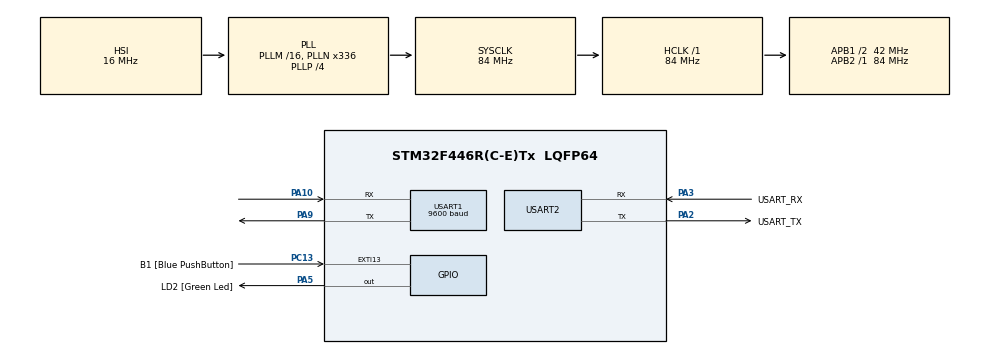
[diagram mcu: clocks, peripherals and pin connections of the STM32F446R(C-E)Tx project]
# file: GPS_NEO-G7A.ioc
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Dma.Request0=USART1_RX
Dma.USART1_RX.0.Direction=DMA_PERIPH_TO_MEMORY
Dma.USART1_RX.0.FIFOMode=DMA_FIFOMODE_DISABLE
Dma.USART1_RX.0.Instance=DMA2_Stream2
Dma.USART1_RX.0.MemDataAlignment=DMA_MDATAALIGN_BYTE
Dma.USART1_RX.0.MemInc=DMA_MINC_ENABLE
Dma.USART1_RX.0.Mode=DMA_NORMAL
Dma.USART1_RX.0.PeriphDataAlignment=DMA_PDATAALIGN_BYTE
Dma.USART1_RX.0.PeriphInc=DMA_PINC_DISABLE
Dma.USART1_RX.0.Priority=DMA_PRIORITY_LOW
Mcu.Family=STM32F4
Mcu.Name=STM32F446R(C-E)Tx
Mcu.Package=LQFP64
NVIC.DMA2_Stream2_IRQn=true\:0\:0\:false\:false\:true\:false\:true
NVIC.PriorityGroup=NVIC_PRIORITYGROUP_0
NVIC.USART1_IRQn=true\:0\:0\:false\:false\:true\:true\:true
NVIC.USART2_IRQn=true\:0\:0\:false\:false\:true\:true\:true
PA10.Mode=Asynchronous
PA10.Signal=USART1_RX
PA13.GPIO_Label=TMS
PA13.Mode=Serial_Wire
PA13.Signal=SYS_JTMS-SWDIO
PA14.GPIO_Label=TCK
PA14.Mode=Serial_Wire
PA14.Signal=SYS_JTCK-SWCLK
PA2.GPIO_Label=USART_TX
PA2.Mode=Asynchronous
PA2.Signal=USART2_TX
PA3.GPIO_Label=USART_RX
PA3.Mode=Asynchronous
PA3.Signal=USART2_RX
PA5.GPIO_Label=LD2 [Green Led]
PA5.Signal=GPIO_Output
PA9.Mode=Asynchronous
PA9.Signal=USART1_TX
PB3.GPIO_Label=SWO
PB3.Signal=SYS_JTDO-SWO
PC13.GPIO_Label=B1 [Blue PushButton]
PC13.GPIO_ModeDefaultEXTI=GPIO_MODE_IT_FALLING
PC13.Signal=GPXTI13
PC14-OSC32_IN.Mode=LSE-External-Oscillator
PC14-OSC32_IN.Signal=RCC_OSC32_IN
PC15-OSC32_OUT.Mode=LSE-External-Oscillator
PC15-OSC32_OUT.Signal=RCC_OSC32_OUT
PH0-OSC_IN.Mode=HSE-External-Oscillator
PH0-OSC_IN.Signal=RCC_OSC_IN
PH1-OSC_OUT.Mode=HSE-External-Oscillator
PH1-OSC_OUT.Signal=RCC_OSC_OUT
ProjectManager.HeapSize=0x200
ProjectManager.StackSize=0x400
ProjectManager.TargetToolchain=STM32CubeIDE
RCC.48MHZClocksFreq_Value=84000000
RCC.AHBFreq_Value=84000000
RCC.APB1CLKDivider=RCC_HCLK_DIV2
RCC.APB1Freq_Value=42000000
RCC.APB1TimFreq_Value=84000000
RCC.APB2Freq_Value=84000000
RCC.APB2TimFreq_Value=84000000
RCC.CortexFreq_Value=84000000
RCC.FLatency-AdvancedSettings=FLASH_LATENCY_2
RCC.HCLKFreq_Value=84000000
RCC.HSE_VALUE=8000000
RCC.HSI_VALUE=16000000
RCC.PLLN=336
RCC.PLLP=RCC_PLLP_DIV4
RCC.SYSCLKFreq_VALUE=84000000
RCC.SYSCLKSource=RCC_SYSCLKSOURCE_PLLCLK
RCC.USBFreq_Value=168000000
RCC.VCOOutputFreq_Value=336000000
USART1.BaudRate=9600
USART1.VirtualMode=VM_ASYNC
USART2.VirtualMode=VM_ASYNC
board=NUCLEO-F446RE

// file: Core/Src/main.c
/* USER CODE BEGIN Header */
/**
  ******************************************************************************
  * @file           : main.c
  * @brief          : Main program body
  ******************************************************************************
  * @attention
  *
  * <h2><center>&copy; Copyright (c) 2021 STMicroelectronics.
  * All rights reserved.</center></h2>
  *
  * This software component is licensed by ST under BSD 3-Clause license,
  * the "License"; You may not use this file except in compliance with the
  * License. You may obtain a copy of the License at:
  *                        opensource.org/licenses/BSD-3-Clause
  *
  ******************************************************************************
  */
/* USER CODE END Header */
#include "main.h"

/* USER CODE BEGIN Includes */

#include "string.h"
#include "stdlib.h"
#include "stdio.h"

/* USER CODE END Includes */

UART_HandleTypeDef huart1;
UART_HandleTypeDef huart2;
DMA_HandleTypeDef hdma_usart1_rx;

/* USER CODE BEGIN PV */
uint8_t flag = 0;
uint8_t buff[25];
char buffStr[255];
char nmeaSnt[80];
char *rawSum;
char smNmbr[3];

// The Equator has a latitude of 0°,
//the North Pole has a latitude of 90° North (written 90° N or +90°),
//and the South Pole has a latitude of 90° South (written 90° S or −90°)

char *latRaw;
char latDg[2];
char latMS[7];
char *hemNS;

// longitude in degrees (0° at the Prime Meridian to +180° eastward and −180° westward)
// that is why 3

char *lonRaw;
char lonDg[3];
char lonMS[7];
char *hemEW;

char *utcRaw; // raw UTC time from the NMEA sentence in the hhmmss format
char strUTC[8]; // UTC time in the readable hh:mm:ss format

char hH[2]; // hours
char mM[2]; // minutes
char sS[2]; // seconds

uint8_t cnt = 0;
/* USER CODE END PV */

void SystemClock_Config(void);
static void MX_GPIO_Init(void);
static void MX_USART2_UART_Init(void);
static void MX_DMA_Init(void);
static void MX_USART1_UART_Init(void);

/* USER CODE BEGIN 0 */

// this interrupts changes flag to 1 as soon as the uint8_t buff[300] is full

void HAL_UART_RxCpltCallback(UART_HandleTypeDef *huart)
{
	HAL_UART_Receive_IT(&huart1, buff, 255);
	flag = 1;
}

// function to calculate checksum of the NMEA sentence
// -4, but not -3 because the NMEA sentences are delimited with \r\n, and there also is the invisible \r in the end
int nmea0183_checksum(char *msg)
	{
	int checksum = 0;
	int j = 0;

	// the first $ sign and the last two bytes of original CRC + the * sign
	for (j = 1; j < strlen(msg) - 4; j++)
	{
		checksum = checksum ^ (unsigned) msg[j];
	}
	return checksum;
}

/* USER CODE END 0 */

int main(void)
{
  /* USER CODE BEGIN 1 */

	HAL_UART_Receive_IT(&huart1, buff, 255);

  /* USER CODE END 1 */

  /* MCU Configuration--------------------------------------------------------*/

  /* Reset of all peripherals, Initializes the Flash interface and the Systick. */
  HAL_Init();

  /* Configure the system clock */
  SystemClock_Config();

  /* Initialize all configured peripherals */
  MX_GPIO_Init();
  MX_USART2_UART_Init();
  MX_DMA_Init();
  MX_USART1_UART_Init();

  /* Infinite loop */
  /* USER CODE BEGIN WHILE */
  while (1)
  {
	  if (flag == 1)					// interrupt signals that the buffer buff[300] is full
	  {
			 /*
		  	 $ - Start delimiter
			 * - Checksum delimiter
			 , - Field delimiter

			 1. $GNGLL log header
			 2. Latitude (Ddmm.mm) [The Equator has a latitude of 0°, the North Pole has a latitude of 90° North (written 90° N or +90°)]
			 3. Latitude direction (N = North, S = South)
			 4. Longitude (DDDmm.mm) [0° at the Prime Meridian to +180° eastward and −180° westward]
			 5. Longitude direction (E = East, W = West)
			 6. UTC time status of position (hours/minutes/seconds/decimal seconds) hhmmss
			 7. Data status: A = Data valid, V = Data invalid
			 8. Positioning system mode indicator
			 9. *xx Checksum
			 10. [CR][LF] Sentence terminator. In C \r\n (two characters).
			  or \r Carriage return
			  or \n Line feed, end delimiter
			 */
		  	  memset(buffStr, 0, 255);
		  	  sprintf(buffStr, "%s", buff);

		  	  // if we want to display the incoming raw data
		  	  //HAL_UART_Transmit(&huart2, buff, 255, 70);

		  	  // splitting the buffStr by the "\n" delimiter with the strsep() C function
		  	  // see http://www.manpagez.com/man/3/strsep/

		  	  char *token, *string;

		  	  string = strdup(buffStr);

		  	  // actually splitting the string by "\n" delimiter
		  	  while ((token = strsep(&string, "\n")) != NULL)
		  	  {
		  		 memset(nmeaSnt, 0, 80);
		  		 sprintf(nmeaSnt, "%s", token);

 				// selecting only $GNGLL sentences, combined GPS and GLONASS
 				// on my GPS sensor this good NMEA sentence is always 50 characters
 				if ((strstr(nmeaSnt, "$GNGLL") != 0) && strlen(nmeaSnt) > 49 && strstr(nmeaSnt, "*") != 0)
 				{
 					rawSum = strstr(nmeaSnt, "*");
					memcpy(smNmbr, &rawSum[1], 2);
					smNmbr[2] = '\0';
 					uint8_t intSum = nmea0183_checksum(nmeaSnt);
  					char hex[2];

					// "%X" unsigned hexadecimal integer (capital letters)
					sprintf(hex, "%X", intSum);

					// checksum data verification, if OK, then we can really trust
					// the data in the the NMEA sentence
					if (strstr(smNmbr, hex) != NULL)
					{
						//if we want display good $GNGLL NMEA sentences
						//HAL_UART_Transmit(&huart2, nmeaSnt, 50, 70);
						//HAL_UART_Transmit(&huart2, (uint8_t*) "\n", 1, 200);
						cnt = 0;

						// splitting the good NMEA sentence into the tokens by the comma delimiter
						for (char *pV = strtok(nmeaSnt, ","); pV != NULL; pV = strtok(NULL, ","))
						{
							switch (cnt)
							{
							case 1:
 								latRaw = strdup(pV);
    							break;
							case 2:
								hemNS = strdup(pV);
								break;
							case 3:
								lonRaw = strdup(pV);
								break;
							case 4:
								hemEW = strdup(pV);
								break;
							case 5:
								utcRaw = strdup(pV);
								break;
							} //end seitch
							cnt++;
						} // end for()

						memcpy(latDg, &latRaw[0], 2);
						latDg[2] = '\0';

						memcpy(latMS, &latRaw[2], 7);
						latMS[7] = '\0';

						memcpy(lonDg, &lonRaw[0], 3);
						lonDg[3] = '\0';

						memcpy(lonMS, &lonRaw[3], 7);
						lonMS[7] = '\0';
						char strLonMS[7];
						sprintf(strLonMS, "%s", lonMS);

						//converting the UTC time in the hh:mm:ss format
						memcpy(hH, &utcRaw[0], 2);
						hH[2] = '\0';

						memcpy(mM, &utcRaw[2], 2);
						mM[2] = '\0';

						memcpy(sS, &utcRaw[4], 2);
						sS[2] = '\0';

						strcpy(strUTC, hH);
						strcat(strUTC, ":");
						strcat(strUTC, mM);
						strcat(strUTC, ":");
						strcat(strUTC, sS);
						strUTC[8] = '\0';

						HAL_UART_Transmit(&huart2, (uint8_t*) hemNS, 1, 200);
						HAL_UART_Transmit(&huart2, (uint8_t*) " ", 1, 200);
						HAL_UART_Transmit(&huart2, (uint8_t*) latDg, 2, 200);
						HAL_UART_Transmit(&huart2, (uint8_t*) "\241", 1, 200);
						HAL_UART_Transmit(&huart2, (uint8_t*) latMS, 7, 200);
						HAL_UART_Transmit(&huart2, (uint8_t*) "\', ", 3, 200);

						HAL_UART_Transmit(&huart2, (uint8_t*) hemEW, 1, 200);
						HAL_UART_Transmit(&huart2, (uint8_t*) " ", 1, 200);
						HAL_UART_Transmit(&huart2, (uint8_t*) lonDg, 3, 200);
						HAL_UART_Transmit(&huart2, (uint8_t*) "\241", 1, 200);
						HAL_UART_Transmit(&huart2, (uint8_t*) strLonMS, strlen(strLonMS), 200);
						HAL_UART_Transmit(&huart2, (uint8_t*) "\', UTC: ", 8, 200);

						HAL_UART_Transmit(&huart2, (uint8_t*) strUTC, 8, 200);
						HAL_UART_Transmit(&huart2, (uint8_t*) "\n", 1, 200);
					}// checksum verification
 				}// end of $GNGLL sentences selection
		  	  }// end of splitting the buffStr by the "\n" delimiter with the strsep() C function

  			flag = 0; // we are ready to get new data from the sensor
	  }// end of one interrupt/full-buffer cycle
 		HAL_Delay(200);
    /* USER CODE END WHILE */

  }
}

void SystemClock_Config(void)
{
  RCC_OscInitTypeDef RCC_OscInitStruct = {0};
  RCC_ClkInitTypeDef RCC_ClkInitStruct = {0};

  /** Configure the main internal regulator output voltage
  */
  __HAL_RCC_PWR_CLK_ENABLE();
  __HAL_PWR_VOLTAGESCALING_CONFIG(PWR_REGULATOR_VOLTAGE_SCALE3);
  /** Initializes the RCC Oscillators according to the specified parameters
  * in the RCC_OscInitTypeDef structure.
  */
  RCC_OscInitStruct.OscillatorType = RCC_OSCILLATORTYPE_HSI;
  RCC_OscInitStruct.HSIState = RCC_HSI_ON;
  RCC_OscInitStruct.HSICalibrationValue = RCC_HSICALIBRATION_DEFAULT;
  RCC_OscInitStruct.PLL.PLLState = RCC_PLL_ON;
  RCC_OscInitStruct.PLL.PLLSource = RCC_PLLSOURCE_HSI;
  RCC_OscInitStruct.PLL.PLLM = 16;
  RCC_OscInitStruct.PLL.PLLN = 336;
  RCC_OscInitStruct.PLL.PLLP = RCC_PLLP_DIV4;
  RCC_OscInitStruct.PLL.PLLQ = 2;
  RCC_OscInitStruct.PLL.PLLR = 2;
  if (HAL_RCC_OscConfig(&RCC_OscInitStruct) != HAL_OK)
  {
    Error_Handler();
  }
  /** Initializes the CPU, AHB and APB buses clocks
  */
  RCC_ClkInitStruct.ClockType = RCC_CLOCKTYPE_HCLK|RCC_CLOCKTYPE_SYSCLK
                              |RCC_CLOCKTYPE_PCLK1|RCC_CLOCKTYPE_PCLK2;
  RCC_ClkInitStruct.SYSCLKSource = RCC_SYSCLKSOURCE_PLLCLK;
  RCC_ClkInitStruct.AHBCLKDivider = RCC_SYSCLK_DIV1;
  RCC_ClkInitStruct.APB1CLKDivider = RCC_HCLK_DIV2;
  RCC_ClkInitStruct.APB2CLKDivider = RCC_HCLK_DIV1;

  if (HAL_RCC_ClockConfig(&RCC_ClkInitStruct, FLASH_LATENCY_2) != HAL_OK)
  {
    Error_Handler();
  }
}

static void MX_USART1_UART_Init(void)
{

  huart1.Instance = USART1;
  huart1.Init.BaudRate = 9600;
  huart1.Init.WordLength = UART_WORDLENGTH_8B;
  huart1.Init.StopBits = UART_STOPBITS_1;
  huart1.Init.Parity = UART_PARITY_NONE;
  huart1.Init.Mode = UART_MODE_TX_RX;
  huart1.Init.HwFlowCtl = UART_HWCONTROL_NONE;
  huart1.Init.OverSampling = UART_OVERSAMPLING_16;
  if (HAL_UART_Init(&huart1) != HAL_OK)
  {
    Error_Handler();
  }

}

static void MX_USART2_UART_Init(void)
{

  huart2.Instance = USART2;
  huart2.Init.BaudRate = 115200;
  huart2.Init.WordLength = UART_WORDLENGTH_8B;
  huart2.Init.StopBits = UART_STOPBITS_1;
  huart2.Init.Parity = UART_PARITY_NONE;
  huart2.Init.Mode = UART_MODE_TX_RX;
  huart2.Init.HwFlowCtl = UART_HWCONTROL_NONE;
  huart2.Init.OverSampling = UART_OVERSAMPLING_16;
  if (HAL_UART_Init(&huart2) != HAL_OK)
  {
    Error_Handler();
  }

}

static void MX_DMA_Init(void)
{

  /* DMA controller clock enable */
  __HAL_RCC_DMA2_CLK_ENABLE();

  /* DMA interrupt init */
  /* DMA2_Stream2_IRQn interrupt configuration */
  HAL_NVIC_SetPriority(DMA2_Stream2_IRQn, 0, 0);
  HAL_NVIC_EnableIRQ(DMA2_Stream2_IRQn);

}

static void MX_GPIO_Init(void)
{
  GPIO_InitTypeDef GPIO_InitStruct = {0};

  /* GPIO Ports Clock Enable */
  __HAL_RCC_GPIOC_CLK_ENABLE();
  __HAL_RCC_GPIOH_CLK_ENABLE();
  __HAL_RCC_GPIOA_CLK_ENABLE();
  __HAL_RCC_GPIOB_CLK_ENABLE();

  /*Configure GPIO pin Output Level */
  HAL_GPIO_WritePin(LD2_GPIO_Port, LD2_Pin, GPIO_PIN_RESET);

  /*Configure GPIO pin : B1_Pin */
  GPIO_InitStruct.Pin = B1_Pin;
  GPIO_InitStruct.Mode = GPIO_MODE_IT_FALLING;
  GPIO_InitStruct.Pull = GPIO_NOPULL;
  HAL_GPIO_Init(B1_GPIO_Port, &GPIO_InitStruct);

  /*Configure GPIO pin : LD2_Pin */
  GPIO_InitStruct.Pin = LD2_Pin;
  GPIO_InitStruct.Mode = GPIO_MODE_OUTPUT_PP;
  GPIO_InitStruct.Pull = GPIO_NOPULL;
  GPIO_InitStruct.Speed = GPIO_SPEED_FREQ_LOW;
  HAL_GPIO_Init(LD2_GPIO_Port, &GPIO_InitStruct);

}

void Error_Handler(void)
{
  __disable_irq();
  while (1)
  {
  }
}

/************************ (C) COPYRIGHT STMicroelectronics *****END OF FILE****/
